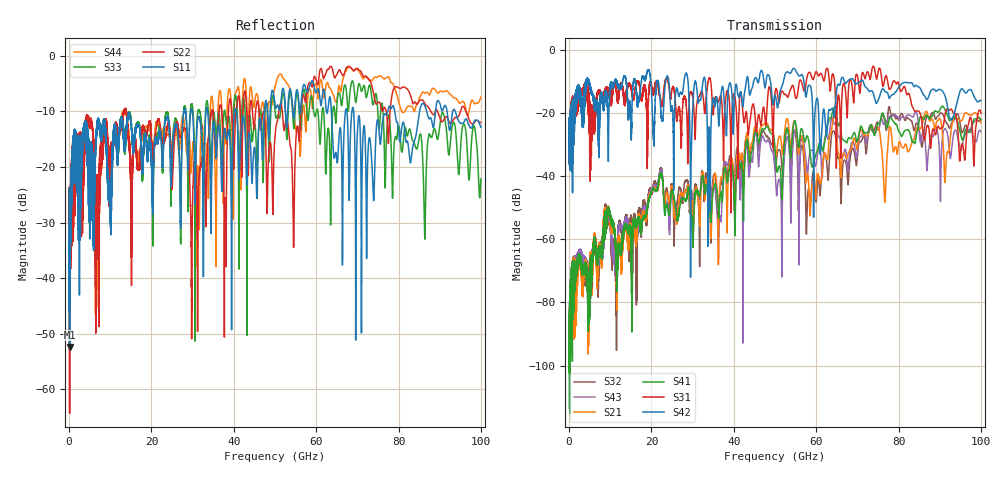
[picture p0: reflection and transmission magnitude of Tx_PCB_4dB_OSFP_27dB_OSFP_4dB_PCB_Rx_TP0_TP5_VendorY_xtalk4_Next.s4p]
! Info: Touchstone file created by Circ.  Input file=Tx_PCB_4dB_OSFP_27dB_OSFP_4dB_PCB_Rx_TP0_TP5_VendorY.circ
# Hz S RI R 50
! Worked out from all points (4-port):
!   10000 points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, 10 MHz to 100 GHz, reference 50 ohm
!   strongest paths, dB at 10 MHz, 25.01 GHz, 50.01 GHz, 75.01 GHz, 100 GHz:
!     S42: -23.5, -18.6, -14.5, -16.2, -16.2
!     S31: -23.5, -12.6, -13.6, -7.1, -20.0
!     S41: -87.3, -44.8, -31.6, -23.5, -22.2
!     S21: -91.9, -43.6, -32.3, -24.4, -23.1
!     S43: -94.1, -45.4, -38.0, -25.4, -26.0
!     S32: -99.2, -43.0, -37.9, -23.1, -22.0
!   lowest |S11| = -52.3 dB at 130 MHz (marker M1), VSWR 1.00, Z = 50 + j0.239 ohm
!   |S11| at or under -10 dB: start of sweep to 27.87 GHz; 40.64 GHz to 47.43 GHz (6.786 GHz wide, 15.4 % of centre); 69.09 GHz to 77.38 GHz (8.29 GHz wide, 11.3 % of centre) (the widest 3 of 20)
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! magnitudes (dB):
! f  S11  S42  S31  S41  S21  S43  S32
! 10 MHz  -23.8  -23.5  -23.5  -87.3  -91.9  -94.1  -99.2
! 130 MHz  -52.3  -25.5  -25.2  -83.1  -86.2  -84.5  -85.6
! 47.63 GHz  -8.4  -12.0  -22.5  -24.9  -23.1  -29.1  -26.8
! 58.67 GHz  -4.9  -11.7  -7.7  -34.5  -48.8  -32.0  -48.3
! 64.36 GHz  -18.4  -21.5  -9.0  -18.4  -20.6  -23.5  -25.8
! 76.66 GHz  -10.4  -13.2  -9.3  -21.8  -48.3  -23.1  -22.7
! 100 GHz  -12.9  -16.2  -20.0  -22.2  -23.1  -26.0  -22.0
